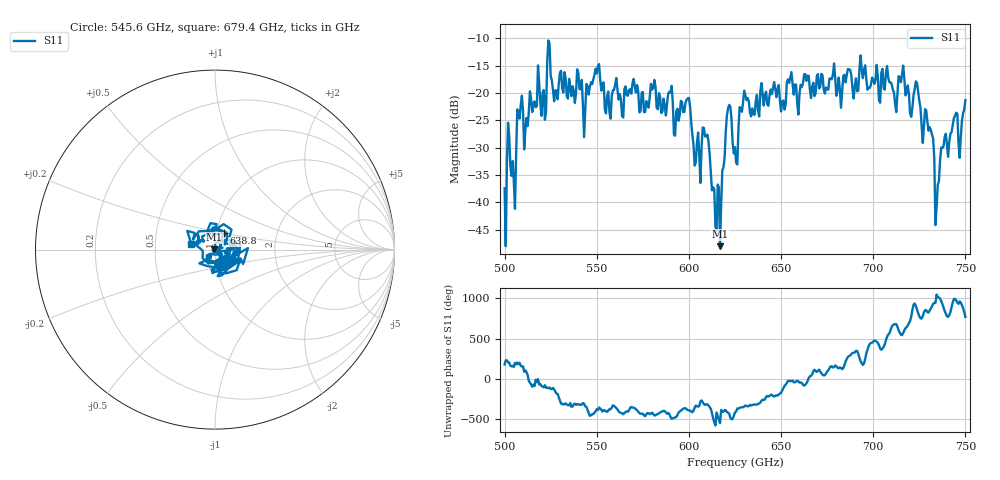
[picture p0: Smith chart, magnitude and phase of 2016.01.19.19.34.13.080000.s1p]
!Created with skrf (http://scikit-rf.org).
# GHz S RI R 50.0
!freq ReS11 ImS11
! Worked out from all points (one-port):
!   401 points, 500 GHz to 750 GHz, reference 50 ohm
!   lowest |S11| = -48.0 dB at 616.9 GHz (marker M1), VSWR 1.01, Z = 49.6 + j0.0849 ohm
!   |S11| at or under -10 dB: start of sweep to end of sweep
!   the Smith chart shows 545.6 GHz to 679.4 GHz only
!   S11 on the Smith chart (normalised r, x): 545.6 GHz: 1.06, -0.19; 638.8 GHz: 1.08, +0.20; 679.4 GHz: 0.77, +0.05
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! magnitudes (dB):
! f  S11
! 500 GHz  -37.4
! 502.5 GHz  -27.8
! 505 GHz  -36.1
! 508.1 GHz  -24.7
! 521.2 GHz  -19.5
! 524.4 GHz  -10.9
! 527.5 GHz  -19.5
! 531.2 GHz  -19.2
! 545.6 GHz  -20.3
! 562.5 GHz  -20.2
! 593.8 GHz  -22.9
! 599.4 GHz  -21.0
! 605 GHz  -27.2
! 608.8 GHz  -27.9
! 613.8 GHz  -37.7
! 616.9 GHz  -48.0
! 621.2 GHz  -22.8
! 625 GHz  -29.9
! 628.8 GHz  -23.4
! 638.8 GHz  -19.7
! 656.2 GHz  -18.4
! 679.4 GHz  -17.3
! 687.5 GHz  -15.8
! 718.8 GHz  -18.6
! 729.4 GHz  -25.2
! 735 GHz  -36.8
! 738.1 GHz  -29.7
! 750 GHz  -21.3
